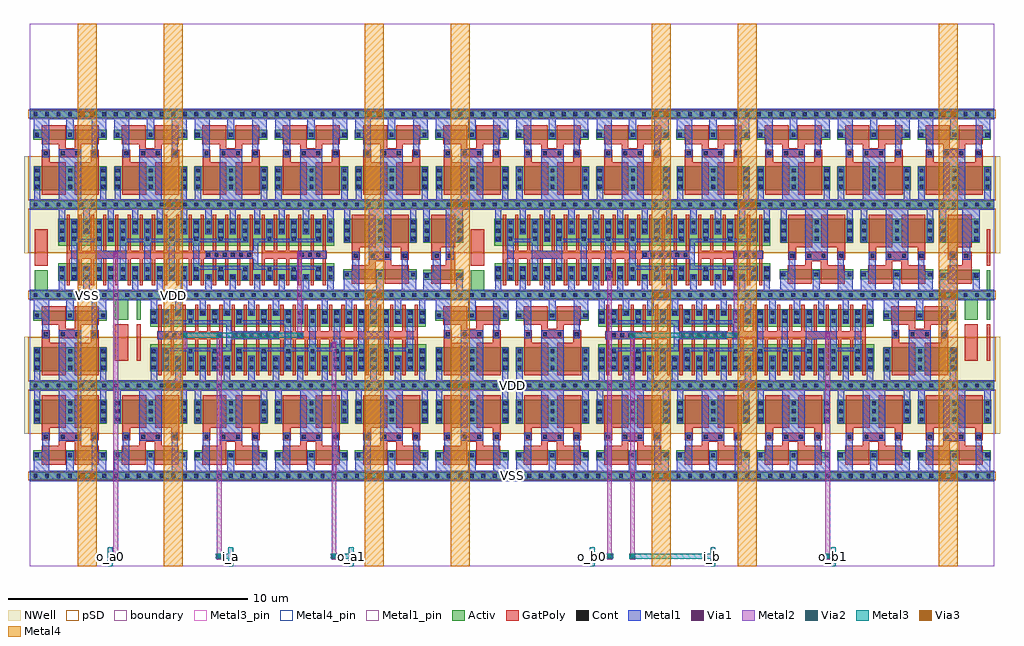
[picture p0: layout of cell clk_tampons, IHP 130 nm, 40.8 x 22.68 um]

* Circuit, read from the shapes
.subckt clk_tampons VDD VSS i_a i_b o_a0 o_a1 o_b0 o_b1
XM1 VSS VDD VSS VSS sg13_lv_nmos w=0.42u l=1u m=64
XM2 o_a0 n1 VSS VSS sg13_lv_nmos w=0.74u l=0.13u m=16
XM3 n2 i_a VSS VSS sg13_lv_nmos w=0.74u l=0.13u m=6
XM4 o_a1 n2 VSS VSS sg13_lv_nmos w=0.74u l=0.13u m=16
XM5 n1 i_a VSS VSS sg13_lv_nmos w=0.74u l=0.13u m=6
XM6 o_b0 n3 VSS VSS sg13_lv_nmos w=0.74u l=0.13u m=16
XM7 n4 i_b VSS VSS sg13_lv_nmos w=0.74u l=0.13u m=6
XM8 o_b1 n4 VSS VSS sg13_lv_nmos w=0.74u l=0.13u m=16
XM9 n3 i_b VSS VSS sg13_lv_nmos w=0.74u l=0.13u m=6
XM10 VDD VSS VDD VDD sg13_lv_pmos w=1u l=1u m=64
XM11 o_a0 n1 VDD VDD sg13_lv_pmos w=1.12u l=0.13u m=16
XM12 n2 i_a VDD VDD sg13_lv_pmos w=1.12u l=0.13u m=6
XM13 o_a1 n2 VDD VDD sg13_lv_pmos w=1.12u l=0.13u m=16
XM14 n1 i_a VDD VDD sg13_lv_pmos w=1.12u l=0.13u m=6
XM15 o_b0 n3 VDD VDD sg13_lv_pmos w=1.12u l=0.13u m=16
XM16 n4 i_b VDD VDD sg13_lv_pmos w=1.12u l=0.13u m=6
XM17 o_b1 n4 VDD VDD sg13_lv_pmos w=1.12u l=0.13u m=16
XM18 n3 i_b VDD VDD sg13_lv_pmos w=1.12u l=0.13u m=6
.ends

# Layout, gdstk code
from math import pi, radians
import gdstk
lib = gdstk.Library(unit=1e-6, precision=1e-09)
def R(c, l, rs):  # rectangles x0, y0, x1, y1
    for r in rs: c.add(gdstk.rectangle(r[:2], r[2:], *l))
def A(c, l, x, y, w, h, nx, ny, dx, dy):  # array of equal rectangles
    R(c, l, [(x+i*dx, y+j*dy, x+i*dx+w, y+j*dy+h) for i in range(nx) for j in range(ny)])
def P(c, l, *ps):  # polygons
    for p in ps: c.add(gdstk.Polygon(p, *l))
Activ = (1, 0)
GatPoly = (5, 0)
Cont = (6, 0)
Metal1 = (8, 0)
Metal1_pin = (8, 2)
Metal2 = (10, 0)
pSD = (14, 0)
Via1 = (19, 0)
Via2 = (29, 0)
Metal3 = (30, 0)
Metal3_pin = (30, 2)
NWell = (31, 0)
Via3 = (49, 0)
Metal4 = (50, 0)
Metal4_pin = (50, 2)
boundary = (189, 4)

via_via1_xy_1 = lib.new_cell('VIA_Via1_XY$1')
R(via_via1_xy_1, Metal1, [(-0.145,-0.105,0.145,0.105)])
R(via_via1_xy_1, Metal2, [(-0.1,-0.145,0.1,0.145)])
R(via_via1_xy_1, Via1, [(-0.095,-0.095,0.095,0.095)])

via_via2_yx_2 = lib.new_cell('VIA_Via2_YX$2')
R(via_via2_yx_2, Metal2, [(-0.105,-0.145,0.105,0.145)])
R(via_via2_yx_2, Via2, [(-0.095,-0.095,0.095,0.095)])
R(via_via2_yx_2, Metal3, [(-0.145,-0.1,0.145,0.1)])

via_via1_yy = lib.new_cell('VIA_Via1_YY')
R(via_via1_yy, Metal1, [(-0.105,-0.145,0.105,0.145)])
R(via_via1_yy, Metal2, [(-0.1,-0.145,0.1,0.145)])
R(via_via1_yy, Via1, [(-0.095,-0.095,0.095,0.095)])

sg13cmos5l_buf_16_1 = lib.new_cell('sg13cmos5l_buf_16$1')
R(sg13cmos5l_buf_16_1, Activ, [(0,-0.15,12,0.15), (0.24,0.59,11.76,1.33), (0.225,2.06,11.76,3.18), (0,3.63,12,3.93)])
P(sg13cmos5l_buf_16_1, GatPoly, [(0.58,0.41),(0.58,3.36),(0.71,3.36),(0.71,1.85),(1.09,1.85),(1.09,3.36),(1.22,3.36),(1.22,1.85),(1.6,1.85),(1.6,3.36),(1.73,3.36),(1.73,1.85),(2.11,1.85),(2.11,3.36),(2.24,3.36),(2.24,1.85),(2.62,1.85),(2.62,3.36),(2.75,3.36),(2.75,1.85),(3.13,1.85),(3.13,3.36),(3.26,3.36),(3.26,1.85),(3.64,1.85),(3.64,3.36),(3.77,3.36),(3.77,1.85),(4.15,1.85),(4.15,3.36),(4.28,3.36),(4.28,1.85),(4.66,1.85),(4.66,3.36),(4.79,3.36),(4.79,1.85),(5.17,1.85),(5.17,3.36),(5.3,3.36),(5.3,1.85),(5.68,1.85),(5.68,3.36),(5.81,3.36),(5.81,1.85),(6.19,1.85),(6.19,3.36),(6.32,3.36),(6.32,1.85),(6.7,1.85),(6.7,3.36),(6.83,3.36),(6.83,1.85),(7.21,1.85),(7.21,3.36),(7.34,3.36),(7.34,1.85),(7.72,1.85),(7.72,3.36),(7.85,3.36),(7.85,1.85),(8.23,1.85),(8.23,3.36),(8.36,3.36),(8.36,0.41),(8.23,0.41),(8.23,1.52),(7.85,1.52),(7.85,0.41),(7.72,0.41),(7.72,1.52),(7.34,1.52),(7.34,0.41),(7.21,0.41),(7.21,1.52),(6.83,1.52),(6.83,0.41),(6.7,0.41),(6.7,1.52),(6.32,1.52),(6.32,0.41),(6.19,0.41),(6.19,1.52),(5.81,1.52),(5.81,0.41),(5.68,0.41),(5.68,1.52),(5.3,1.52),(5.3,0.41),(5.17,0.41),(5.17,1.52),(4.79,1.52),(4.79,0.41),(4.66,0.41),(4.66,1.52),(4.28,1.52),(4.28,0.41),(4.15,0.41),(4.15,1.52),(3.77,1.52),(3.77,0.41),(3.64,0.41),(3.64,1.52),(3.26,1.52),(3.26,0.41),(3.13,0.41),(3.13,1.52),(2.75,1.52),(2.75,0.41),(2.62,0.41),(2.62,1.52),(2.24,1.52),(2.24,0.41),(2.11,0.41),(2.11,1.52),(1.73,1.52),(1.73,0.41),(1.6,0.41),(1.6,1.52),(1.22,1.52),(1.22,0.41),(1.09,0.41),(1.09,1.52),(0.71,1.52),(0.71,0.41)],
  [(8.74,0.41),(8.74,3.36),(8.87,3.36),(8.87,1.85),(9.25,1.85),(9.25,3.36),(9.38,3.36),(9.38,1.85),(9.76,1.85),(9.76,3.36),(9.89,3.36),(9.89,1.85),(10.27,1.85),(10.27,3.36),(10.4,3.36),(10.4,1.85),(10.78,1.85),(10.78,3.36),(10.91,3.36),(10.91,1.85),(11.29,1.85),(11.29,3.36),(11.42,3.36),(11.42,1.85),(11.46,1.85),(11.46,1.52),(11.42,1.52),(11.42,0.41),(11.29,0.41),(11.29,1.52),(10.91,1.52),(10.91,0.41),(10.78,0.41),(10.78,1.52),(10.4,1.52),(10.4,0.41),(10.27,0.41),(10.27,1.52),(9.89,1.52),(9.89,0.41),(9.76,0.41),(9.76,1.52),(9.38,1.52),(9.38,0.41),(9.25,0.41),(9.25,1.52),(8.87,1.52),(8.87,0.41)])
A(sg13cmos5l_buf_16_1, Cont, 0.31, 0.66, 0.16, 0.16, 23, 2, 0.51, 1.95)
A(sg13cmos5l_buf_16_1, Cont, 0.82, 1, 0.16, 0.16, 3, 1, 1.02, 0)
A(sg13cmos5l_buf_16_1, Cont, 3.37, 1, 0.16, 0.16, 6, 1, 0.51, 0)
A(sg13cmos5l_buf_16_1, Cont, 6.94, 1, 0.16, 0.16, 5, 1, 1.02, 0)
A(sg13cmos5l_buf_16_1, Cont, 6.43, 1.605, 0.16, 0.16, 6, 1, 0.34, 0)
A(sg13cmos5l_buf_16_1, Cont, 10.335, 1.605, 0.16, 0.16, 3, 1, 0.34, 0)
A(sg13cmos5l_buf_16_1, Cont, 1.84, 2.27, 0.16, 0.16, 3, 1, 0.51, 0)
A(sg13cmos5l_buf_16_1, Cont, 3.88, 2.27, 0.16, 0.16, 8, 1, 1.02, 0)
A(sg13cmos5l_buf_16_1, Cont, 0.31, 2.95, 0.16, 0.16, 23, 1, 0.51, 0)
R(sg13cmos5l_buf_16_1, Cont, [(0.16,-0.08,0.32,0.08), (0.16,-0.08,0.32,0.08), (0.64,-0.08,0.8,0.08), (0.64,-0.08,0.8,0.08), (1.12,-0.08,1.28,0.08), (1.12,-0.08,1.28,0.08), (1.6,-0.08,1.76,0.08), (1.6,-0.08,1.76,0.08), (2.08,-0.08,2.24,0.08), (2.08,-0.08,2.24,0.08), (2.56,-0.08,2.72,0.08), (2.56,-0.08,2.72,0.08), (3.04,-0.08,3.2,0.08), (3.04,-0.08,3.2,0.08), (3.52,-0.08,3.68,0.08), (3.52,-0.08,3.68,0.08), (4,-0.08,4.16,0.08), (4,-0.08,4.16,0.08), (4.48,-0.08,4.64,0.08), (4.48,-0.08,4.64,0.08), (4.96,-0.08,5.12,0.08), (4.96,-0.08,5.12,0.08), (5.44,-0.08,5.6,0.08), (5.44,-0.08,5.6,0.08), (5.92,-0.08,6.08,0.08), (5.92,-0.08,6.08,0.08), (6.4,-0.08,6.56,0.08), (6.4,-0.08,6.56,0.08), (6.88,-0.08,7.04,0.08), (6.88,-0.08,7.04,0.08), (7.36,-0.08,7.52,0.08), (7.36,-0.08,7.52,0.08), (7.84,-0.08,8,0.08), (7.84,-0.08,8,0.08), (8.32,-0.08,8.48,0.08), (8.32,-0.08,8.48,0.08), (8.8,-0.08,8.96,0.08), (8.8,-0.08,8.96,0.08), (9.28,-0.08,9.44,0.08), (9.28,-0.08,9.44,0.08), (9.76,-0.08,9.92,0.08), (9.76,-0.08,9.92,0.08), (10.24,-0.08,10.4,0.08), (10.24,-0.08,10.4,0.08), (10.72,-0.08,10.88,0.08), (10.72,-0.08,10.88,0.08), (11.2,-0.08,11.36,0.08), (11.2,-0.08,11.36,0.08), (11.68,-0.08,11.84,0.08), (11.68,-0.08,11.84,0.08), (0.31,1,0.47,1.16), (11.53,1,11.69,1.16), (1.33,1.005,1.49,1.165), (2.35,1.005,2.51,1.165), (11.53,2.265,11.69,2.425), (0.31,2.27,0.47,2.43), (0.82,2.27,0.98,2.43), (0.16,3.7,0.32,3.86), (0.16,3.7,0.32,3.86), (0.64,3.7,0.8,3.86), (0.64,3.7,0.8,3.86), (1.12,3.7,1.28,3.86), (1.12,3.7,1.28,3.86), (1.6,3.7,1.76,3.86), (1.6,3.7,1.76,3.86), (2.08,3.7,2.24,3.86), (2.08,3.7,2.24,3.86), (2.56,3.7,2.72,3.86), (2.56,3.7,2.72,3.86), (3.04,3.7,3.2,3.86), (3.04,3.7,3.2,3.86), (3.52,3.7,3.68,3.86), (3.52,3.7,3.68,3.86), (4,3.7,4.16,3.86), (4,3.7,4.16,3.86), (4.48,3.7,4.64,3.86), (4.48,3.7,4.64,3.86), (4.96,3.7,5.12,3.86), (4.96,3.7,5.12,3.86), (5.44,3.7,5.6,3.86), (5.44,3.7,5.6,3.86), (5.92,3.7,6.08,3.86), (5.92,3.7,6.08,3.86), (6.4,3.7,6.56,3.86), (6.4,3.7,6.56,3.86), (6.88,3.7,7.04,3.86), (6.88,3.7,7.04,3.86), (7.36,3.7,7.52,3.86), (7.36,3.7,7.52,3.86), (7.84,3.7,8,3.86), (7.84,3.7,8,3.86), (8.32,3.7,8.48,3.86), (8.32,3.7,8.48,3.86), (8.8,3.7,8.96,3.86), (8.8,3.7,8.96,3.86), (9.28,3.7,9.44,3.86), (9.28,3.7,9.44,3.86), (9.76,3.7,9.92,3.86), (9.76,3.7,9.92,3.86), (10.24,3.7,10.4,3.86), (10.24,3.7,10.4,3.86), (10.72,3.7,10.88,3.86), (10.72,3.7,10.88,3.86), (11.2,3.7,11.36,3.86), (11.2,3.7,11.36,3.86), (11.68,3.7,11.84,3.86), (11.68,3.7,11.84,3.86)])
R(sg13cmos5l_buf_16_1, Metal1, [(10.26,1.52,11.44,1.85)])
P(sg13cmos5l_buf_16_1, Metal1, [(0.77,0.61),(0.77,3.16),(1.03,3.16),(1.03,2.36),(1.79,2.36),(1.79,3.16),(2.05,3.16),(2.05,1.85),(2.81,1.85),(2.81,3.16),(3.07,3.16),(3.07,2.36),(3.83,2.36),(3.83,3.16),(4.09,3.16),(4.09,2.36),(4.85,2.36),(4.85,3.16),(5.11,3.16),(5.11,2.36),(5.87,2.36),(5.87,3.16),(6.13,3.16),(6.13,2.36),(6.89,2.36),(6.89,3.16),(7.15,3.16),(7.15,2.36),(7.91,2.36),(7.91,3.16),(8.17,3.16),(8.17,2.2),(6.13,2.2),(6.13,1.22),(8.17,1.22),(8.17,0.61),(7.91,0.61),(7.91,1.05),(7.15,1.05),(7.15,0.61),(6.89,0.61),(6.89,1.05),(6.13,1.05),(6.13,0.61),(5.87,0.61),(5.87,2.2),(5.11,2.2),(5.11,0.61),(4.85,0.61),(4.85,2.2),(4.09,2.2),(4.09,0.61),(3.83,0.61),(3.83,2.2),(3.07,2.2),(3.07,0.61),(2.81,0.61),(2.81,1.52),(2.05,1.52),(2.05,0.61),(1.79,0.61),(1.79,2.2),(1.03,2.2),(1.03,0.61)],
  [(8.93,0.61),(8.93,1.05),(8.385,1.05),(8.385,1.52),(6.395,1.52),(6.395,1.85),(8.385,1.85),(8.385,2.36),(8.93,2.36),(8.93,3.16),(9.19,3.16),(9.19,2.36),(9.95,2.36),(9.95,3.16),(10.21,3.16),(10.21,2.36),(10.97,2.36),(10.97,3.16),(11.23,3.16),(11.23,2.2),(8.595,2.2),(8.595,1.22),(11.23,1.22),(11.23,0.61),(10.97,0.61),(10.97,1.05),(10.21,1.05),(10.21,0.61),(9.95,0.61),(9.95,1.05),(9.19,1.05),(9.19,0.61)],
  [(11.48,2.215),(11.48,3.56),(10.72,3.56),(10.72,2.545),(10.46,2.545),(10.46,3.56),(9.7,3.56),(9.7,2.54),(9.44,2.54),(9.44,3.56),(8.68,3.56),(8.68,2.54),(8.42,2.54),(8.42,3.56),(7.66,3.56),(7.66,2.54),(7.4,2.54),(7.4,3.56),(6.64,3.56),(6.64,2.54),(6.38,2.54),(6.38,3.56),(5.62,3.56),(5.62,2.54),(5.36,2.54),(5.36,3.56),(4.6,3.56),(4.6,2.54),(4.34,2.54),(4.34,3.56),(3.58,3.56),(3.58,2.54),(3.32,2.54),(3.32,3.56),(2.56,3.56),(2.56,2.22),(2.3,2.22),(2.3,3.56),(1.54,3.56),(1.54,2.54),(1.28,2.54),(1.28,3.56),(0.52,3.56),(0.52,2.22),(0.26,2.22),(0.26,3.56),(0,3.56),(0,4),(12,4),(12,3.56),(11.74,3.56),(11.74,2.215)],
  [(0,-0.22),(0,0.22),(0.26,0.22),(0.26,1.21),(0.52,1.21),(0.52,0.22),(1.28,0.22),(1.28,1.21),(1.54,1.21),(1.54,0.22),(2.3,0.22),(2.3,1.21),(2.56,1.21),(2.56,0.22),(3.32,0.22),(3.32,1.195),(3.58,1.195),(3.58,0.22),(4.34,0.22),(4.34,1.195),(4.6,1.195),(4.6,0.22),(5.36,0.22),(5.36,1.195),(5.62,1.195),(5.62,0.22),(6.38,0.22),(6.38,0.87),(6.64,0.87),(6.64,0.22),(7.4,0.22),(7.4,0.87),(7.66,0.87),(7.66,0.22),(8.42,0.22),(8.42,0.87),(8.685,0.87),(8.685,0.22),(9.44,0.22),(9.44,0.87),(9.7,0.87),(9.7,0.22),(10.46,0.22),(10.46,0.87),(10.72,0.87),(10.72,0.22),(11.48,0.22),(11.48,1.21),(11.74,1.21),(11.74,0.22),(12,0.22),(12,-0.22)])
R(sg13cmos5l_buf_16_1, Metal1_pin, [(0,-0.22,12,0.22), (1.79,1.52,3.07,1.85), (10.26,1.52,11.44,1.85), (0,3.56,12,4)])
R(sg13cmos5l_buf_16_1, pSD, [(-0.07,-0.18,12.07,0.18), (-0.07,1.76,12.07,3.6)])
R(sg13cmos5l_buf_16_1, NWell, [(-0.24,1.75,12.24,4.17)])
R(sg13cmos5l_buf_16_1, boundary, [(0,0,12,3.78)])
sg13cmos5l_buf_16_1.add(gdstk.Label('X', (2.42,1.68), layer=8, texttype=25))
sg13cmos5l_buf_16_1.add(gdstk.Label('A', (10.855,1.755), layer=8, texttype=25))
sg13cmos5l_buf_16_1.add(gdstk.Label('VSS', (6.01,0.055), layer=8, texttype=25))
sg13cmos5l_buf_16_1.add(gdstk.Label('VDD', (5.78,3.835), layer=8, texttype=25))

sg13cmos5l_fill_1_2 = lib.new_cell('sg13cmos5l_fill_1$2')
R(sg13cmos5l_fill_1_2, Activ, [(0,-0.15,0.48,0.15), (0.16,0.15,0.32,1.03), (0,3.63,0.48,3.93)])
R(sg13cmos5l_fill_1_2, GatPoly, [(0.16,1.23,0.32,2.75)])
R(sg13cmos5l_fill_1_2, Cont, [(0.16,-0.08,0.32,0.08), (0.16,-0.08,0.32,0.08), (0.16,3.7,0.32,3.86), (0.16,3.7,0.32,3.86)])
R(sg13cmos5l_fill_1_2, Metal1, [(0,-0.22,0.48,0.22), (0,3.56,0.48,4)])
R(sg13cmos5l_fill_1_2, Metal1_pin, [(0,-0.22,0.48,0.22), (0,3.56,0.48,4)])
R(sg13cmos5l_fill_1_2, pSD, [(-0.07,-0.18,0.55,0.18), (-0.07,1.76,0.55,3.6)])
R(sg13cmos5l_fill_1_2, NWell, [(-0.24,1.75,0.72,4.17)])
R(sg13cmos5l_fill_1_2, boundary, [(0,0,0.48,3.78)])
sg13cmos5l_fill_1_2.add(gdstk.Label('VSS', (0.255,0), layer=8, texttype=25))
sg13cmos5l_fill_1_2.add(gdstk.Label('VDD', (0.245,3.785), layer=8, texttype=25))

sg13cmos5l_fill_2_2 = lib.new_cell('sg13cmos5l_fill_2$2')
R(sg13cmos5l_fill_2_2, Activ, [(0,-0.15,0.96,0.15), (0.2,0.15,0.76,1.03), (0,3.63,0.96,3.93)])
R(sg13cmos5l_fill_2_2, GatPoly, [(0.2,1.23,0.76,2.75)])
R(sg13cmos5l_fill_2_2, Cont, [(0.16,-0.08,0.32,0.08), (0.16,-0.08,0.32,0.08), (0.64,-0.08,0.8,0.08), (0.64,-0.08,0.8,0.08), (0.16,3.7,0.32,3.86), (0.16,3.7,0.32,3.86), (0.64,3.7,0.8,3.86), (0.64,3.7,0.8,3.86)])
R(sg13cmos5l_fill_2_2, Metal1, [(0,-0.22,0.96,0.22), (0,3.56,0.96,4)])
R(sg13cmos5l_fill_2_2, Metal1_pin, [(0,-0.22,0.96,0.22), (0,3.56,0.96,4)])
R(sg13cmos5l_fill_2_2, pSD, [(-0.07,-0.18,1.03,0.18), (-0.07,1.76,1.03,3.6)])
R(sg13cmos5l_fill_2_2, NWell, [(-0.24,1.75,1.2,4.17)])
R(sg13cmos5l_fill_2_2, boundary, [(0,0,0.96,3.78)])
sg13cmos5l_fill_2_2.add(gdstk.Label('VDD', (0.495,3.78), layer=8, texttype=25))
sg13cmos5l_fill_2_2.add(gdstk.Label('VSS', (0.49,0), layer=8, texttype=25))

sg13cmos5l_decap_8_2 = lib.new_cell('sg13cmos5l_decap_8$2')
R(sg13cmos5l_decap_8_2, Activ, [(0,-0.15,3.36,0.15), (0.155,0.65,3.215,1.07), (0.165,2.185,3.225,3.185), (0,3.63,3.36,3.93)])
P(sg13cmos5l_decap_8_2, GatPoly, [(0.505,1.48),(0.505,3.365),(1.505,3.365),(1.505,2.005),(0.835,2.005),(0.835,1.48)],
  [(2.555,1.48),(2.555,2.005),(1.885,2.005),(1.885,3.365),(2.885,3.365),(2.885,1.48)],
  [(0.495,0.47),(0.495,1.25),(1.22,1.25),(1.22,1.805),(2.155,1.805),(2.155,1.25),(2.875,1.25),(2.875,0.47),(1.875,0.47),(1.875,1.415),(1.495,1.415),(1.495,0.47)])
A(sg13cmos5l_decap_8_2, Cont, 0.16, -0.08, 0.16, 0.16, 7, 2, 0.48, 3.78)
A(sg13cmos5l_decap_8_2, Cont, 0.225, 0.78, 0.16, 0.16, 3, 1, 1.38, 0)
A(sg13cmos5l_decap_8_2, Cont, 0.235, 2.275, 0.16, 0.16, 3, 3, 1.38, 0.34)
R(sg13cmos5l_decap_8_2, Cont, [(1.3,1.555,1.46,1.715), (1.905,1.555,2.065,1.715), (0.59,1.56,0.75,1.72), (2.63,1.56,2.79,1.72)])
P(sg13cmos5l_decap_8_2, Metal1, [(1.22,1.475),(1.22,3.56),(0.445,3.56),(0.445,2.205),(0.185,2.205),(0.185,3.56),(0,3.56),(0,4),(3.36,4),(3.36,3.56),(3.205,3.56),(3.205,2.21),(2.945,2.21),(2.945,3.56),(2.155,3.56),(2.155,1.475)],
  [(0,-0.22),(0,0.22),(0.175,0.22),(0.175,0.99),(0.52,0.99),(0.52,1.81),(0.81,1.81),(0.81,0.22),(1.53,0.22),(1.53,1.03),(1.835,1.03),(1.835,0.22),(2.585,0.22),(2.585,1.81),(2.835,1.81),(2.835,0.99),(3.195,0.99),(3.195,0.22),(3.36,0.22),(3.36,-0.22)])
R(sg13cmos5l_decap_8_2, Metal1_pin, [(0,-0.22,3.36,0.22), (0,3.56,3.36,4)])
R(sg13cmos5l_decap_8_2, pSD, [(-0.07,-0.18,3.43,0.18), (-0.07,1.76,3.43,3.6)])
R(sg13cmos5l_decap_8_2, NWell, [(-0.24,1.75,3.6,4.17)])
R(sg13cmos5l_decap_8_2, boundary, [(0,0,3.36,3.78)])
sg13cmos5l_decap_8_2.add(gdstk.Label('VSS', (1.68,0), layer=8, texttype=25))
sg13cmos5l_decap_8_2.add(gdstk.Label('VDD', (1.68,3.78), layer=8, texttype=25))

via_via3_4_800_440_1_2_4 = lib.new_cell('VIA_via3_4_800_440_1_2_410_410')
R(via_via3_4_800_440_1_2_4, Metal3, [(-0.35,-0.1,0.35,0.1)])
R(via_via3_4_800_440_1_2_4, Via3, [(-0.3,-0.095,-0.11,0.095), (0.11,-0.095,0.3,0.095)])
R(via_via3_4_800_440_1_2_4, Metal4, [(-0.4,-0.145,0.4,0.145)])

via_via1_2_800_440_1_2_4 = lib.new_cell('VIA_via1_2_800_440_1_2_410_410')
R(via_via1_2_800_440_1_2_4, Metal1, [(-0.35,-0.22,0.35,0.22)])
R(via_via1_2_800_440_1_2_4, Metal2, [(-0.305,-0.145,0.305,0.145)])
R(via_via1_2_800_440_1_2_4, Via1, [(-0.3,-0.095,-0.11,0.095), (0.11,-0.095,0.3,0.095)])

sg13cmos5l_decap_4_2 = lib.new_cell('sg13cmos5l_decap_4$2')
R(sg13cmos5l_decap_4_2, Activ, [(0,-0.15,1.92,0.15), (0.12,0.645,1.8,1.065), (0.12,2.18,1.8,3.18), (0,3.63,1.92,3.93)])
P(sg13cmos5l_decap_4_2, GatPoly, [(0.46,0.465),(0.46,1.245),(1.065,1.245),(1.065,1.8),(1.46,1.8),(1.46,0.465)],
  [(0.46,1.475),(0.46,3.36),(1.46,3.36),(1.46,2),(0.855,2),(0.855,1.475)])
A(sg13cmos5l_decap_4_2, Cont, 0.16, -0.08, 0.16, 0.16, 4, 2, 0.48, 3.78)
A(sg13cmos5l_decap_4_2, Cont, 0.19, 2.27, 0.16, 0.16, 1, 3, 0, 0.34)
A(sg13cmos5l_decap_4_2, Cont, 1.57, 2.27, 0.16, 0.16, 1, 3, 0, 0.34)
R(sg13cmos5l_decap_4_2, Cont, [(0.19,0.72,0.35,0.88), (1.57,0.72,1.73,0.88), (1.15,1.555,1.31,1.715), (0.61,1.56,0.77,1.72)])
P(sg13cmos5l_decap_4_2, Metal1, [(1.065,1.47),(1.065,3.56),(0.4,3.56),(0.4,2.22),(0.13,2.22),(0.13,3.56),(0,3.56),(0,4),(1.92,4),(1.92,3.56),(1.79,3.56),(1.79,2.22),(1.405,2.22),(1.405,1.47)],
  [(0,-0.22),(0,0.22),(0.13,0.22),(0.13,0.935),(0.53,0.935),(0.53,1.805),(0.855,1.805),(0.855,0.22),(1.51,0.22),(1.51,0.935),(1.79,0.935),(1.79,0.22),(1.92,0.22),(1.92,-0.22)])
R(sg13cmos5l_decap_4_2, Metal1_pin, [(0,-0.22,1.92,0.22), (0,3.56,1.92,4)])
R(sg13cmos5l_decap_4_2, pSD, [(-0.07,-0.18,1.99,0.18), (-0.16,1.76,1.99,3.6)])
R(sg13cmos5l_decap_4_2, NWell, [(-0.24,1.75,2.16,4.17)])
R(sg13cmos5l_decap_4_2, boundary, [(0,0,1.92,3.78)])
sg13cmos5l_decap_4_2.add(gdstk.Label('VSS', (1.08,0), layer=8, texttype=25))
sg13cmos5l_decap_4_2.add(gdstk.Label('VDD', (0.95,3.78), layer=8, texttype=25))

via_via2_3_800_440_1_2_4 = lib.new_cell('VIA_via2_3_800_440_1_2_410_410')
R(via_via2_3_800_440_1_2_4, Metal2, [(-0.305,-0.145,0.305,0.145)])
R(via_via2_3_800_440_1_2_4, Via2, [(-0.3,-0.095,-0.11,0.095), (0.11,-0.095,0.3,0.095)])
R(via_via2_3_800_440_1_2_4, Metal3, [(-0.35,-0.1,0.35,0.1)])

clk_tampons = lib.new_cell('clk_tampons')
A(clk_tampons, Metal1, 0, 3.56, 0.16, 0.44, 1, 5, 0, 3.78)
A(clk_tampons, Metal1, 0, 3.56, 40.32, 0.44, 1, 5, 0, 3.78)
A(clk_tampons, Metal1, 40.16, 3.56, 0.16, 0.44, 1, 5, 0, 3.78)
A(clk_tampons, Metal1_pin, 0, 3.56, 0.16, 0.44, 1, 5, 0, 3.78)
A(clk_tampons, Metal1_pin, 0, 3.56, 40.32, 0.44, 1, 5, 0, 3.78)
A(clk_tampons, Metal1_pin, 40.16, 3.56, 0.16, 0.44, 1, 5, 0, 3.78)
R(clk_tampons, Metal2, [(6.38,9.09,6.58,9.66), (25.1,9.09,25.3,9.66)])
A(clk_tampons, Metal3, 3.26, 0, 0.2, 0.8, 3, 1, 5.04, 0)
A(clk_tampons, Metal3, 23.42, 0, 0.2, 0.8, 3, 1, 5.04, 0)
R(clk_tampons, Metal3, [(7.345,9.56,7.92,9.76)])
A(clk_tampons, Metal3_pin, 3.26, 0, 0.2, 0.8, 3, 1, 5.04, 0)
A(clk_tampons, Metal3_pin, 23.42, 0, 0.2, 0.8, 3, 1, 5.04, 0)
R(clk_tampons, Metal4, [(2,0,2.8,0.2), (2,0,2.8,22.68), (5.6,0,6.4,0.2), (5.6,0,6.4,22.68), (14,0,14.8,0.2), (14,0,14.8,22.68), (17.6,0,18.4,0.2), (17.6,0,18.4,22.68), (26,0,26.8,0.2), (26,0,26.8,22.68), (29.6,0,30.4,0.2), (29.6,0,30.4,22.68), (38,0,38.8,0.2), (38,0,38.8,22.68), (2,22.48,2.8,22.68), (5.6,22.48,6.4,22.68), (14,22.48,14.8,22.68), (17.6,22.48,18.4,22.68), (26,22.48,26.8,22.68), (29.6,22.48,30.4,22.68), (38,22.48,38.8,22.68)])
R(clk_tampons, Metal4_pin, [(2,0,2.8,0.2), (2,0,2.8,22.68), (5.6,0,6.4,0.2), (5.6,0,6.4,22.68), (14,0,14.8,0.2), (14,0,14.8,22.68), (17.6,0,18.4,0.2), (17.6,0,18.4,22.68), (26,0,26.8,0.2), (26,0,26.8,22.68), (29.6,0,30.4,0.2), (29.6,0,30.4,22.68), (38,0,38.8,0.2), (38,0,38.8,22.68), (2,22.48,2.8,22.68), (5.6,22.48,6.4,22.68), (14,22.48,14.8,22.68), (17.6,22.48,18.4,22.68), (26,22.48,26.8,22.68), (29.6,22.48,30.4,22.68), (38,22.48,38.8,22.68)])
R(clk_tampons, boundary, [(0,0,40.32,22.68)])
clk_tampons.add(gdstk.FlexPath([(0,15.12),(40.32,15.12)], 0.44, ends="flush", simple_path=True, layer=8, datatype=0))  # Metal1
clk_tampons.add(gdstk.FlexPath([(0,7.56),(40.32,7.56)], 0.44, ends="flush", simple_path=True, layer=8, datatype=0))  # Metal1
clk_tampons.add(gdstk.FlexPath([(0,18.9),(40.32,18.9)], 0.44, ends="flush", simple_path=True, layer=8, datatype=0))  # Metal1
clk_tampons.add(gdstk.FlexPath([(0,11.34),(40.32,11.34)], 0.44, ends="flush", simple_path=True, layer=8, datatype=0))  # Metal1
clk_tampons.add(gdstk.FlexPath([(0,3.78),(40.32,3.78)], 0.44, ends="flush", simple_path=True, layer=8, datatype=0))  # Metal1
clk_tampons.add(gdstk.FlexPath([(11.28,9.66),(11.28,13.02)], 0.2, ends="extended", simple_path=True, layer=10, datatype=0))  # Metal2
clk_tampons.add(gdstk.FlexPath([(7.92,0.42),(7.92,9.66)], 0.2, ends="extended", simple_path=True, layer=10, datatype=0))  # Metal2
clk_tampons.add(gdstk.FlexPath([(25.2,0.42),(25.2,9.66)], 0.2, ends="extended", simple_path=True, layer=10, datatype=0))  # Metal2
clk_tampons.add(gdstk.FlexPath([(29.52,9.66),(29.52,13.02)], 0.2, ends="extended", simple_path=True, layer=10, datatype=0))  # Metal2
clk_tampons.add(gdstk.FlexPath([(3.6,0.42),(3.6,13.02)], 0.2, ends="extended", simple_path=True, layer=10, datatype=0))  # Metal2
clk_tampons.add(gdstk.FlexPath([(12.72,0.42),(12.72,9.24)], 0.2, ends="extended", simple_path=True, layer=10, datatype=0))  # Metal2
clk_tampons.add(gdstk.FlexPath([(24.24,0.42),(24.24,12.18)], 0.2, ends="extended", simple_path=True, layer=10, datatype=0))  # Metal2
clk_tampons.add(gdstk.FlexPath([(33.36,0.42),(33.36,9.66)], 0.2, ends="extended", simple_path=True, layer=10, datatype=0))  # Metal2
clk_tampons.add(gdstk.FlexPath([(29.64,15.12),(30.36,15.12)], 0.2, ends="flush", simple_path=True, layer=30, datatype=0))  # Metal3
clk_tampons.add(gdstk.FlexPath([(29.64,7.56),(30.36,7.56)], 0.2, ends="flush", simple_path=True, layer=30, datatype=0))  # Metal3
clk_tampons.add(gdstk.FlexPath([(17.64,15.12),(18.36,15.12)], 0.2, ends="flush", simple_path=True, layer=30, datatype=0))  # Metal3
clk_tampons.add(gdstk.FlexPath([(17.64,7.56),(18.36,7.56)], 0.2, ends="flush", simple_path=True, layer=30, datatype=0))  # Metal3
clk_tampons.add(gdstk.FlexPath([(5.64,15.12),(6.36,15.12)], 0.2, ends="flush", simple_path=True, layer=30, datatype=0))  # Metal3
clk_tampons.add(gdstk.FlexPath([(5.64,7.56),(6.36,7.56)], 0.2, ends="flush", simple_path=True, layer=30, datatype=0))  # Metal3
clk_tampons.add(gdstk.FlexPath([(38.04,18.9),(38.76,18.9)], 0.2, ends="flush", simple_path=True, layer=30, datatype=0))  # Metal3
clk_tampons.add(gdstk.FlexPath([(38.04,11.34),(38.76,11.34)], 0.2, ends="flush", simple_path=True, layer=30, datatype=0))  # Metal3
clk_tampons.add(gdstk.FlexPath([(38.04,3.78),(38.76,3.78)], 0.2, ends="flush", simple_path=True, layer=30, datatype=0))  # Metal3
clk_tampons.add(gdstk.FlexPath([(26.04,18.9),(26.76,18.9)], 0.2, ends="flush", simple_path=True, layer=30, datatype=0))  # Metal3
clk_tampons.add(gdstk.FlexPath([(26.04,11.34),(26.76,11.34)], 0.2, ends="flush", simple_path=True, layer=30, datatype=0))  # Metal3
clk_tampons.add(gdstk.FlexPath([(26.04,3.78),(26.76,3.78)], 0.2, ends="flush", simple_path=True, layer=30, datatype=0))  # Metal3
clk_tampons.add(gdstk.FlexPath([(14.04,18.9),(14.76,18.9)], 0.2, ends="flush", simple_path=True, layer=30, datatype=0))  # Metal3
clk_tampons.add(gdstk.FlexPath([(14.04,11.34),(14.76,11.34)], 0.2, ends="flush", simple_path=True, layer=30, datatype=0))  # Metal3
clk_tampons.add(gdstk.FlexPath([(14.04,3.78),(14.76,3.78)], 0.2, ends="flush", simple_path=True, layer=30, datatype=0))  # Metal3
clk_tampons.add(gdstk.FlexPath([(2.04,18.9),(2.76,18.9)], 0.2, ends="flush", simple_path=True, layer=30, datatype=0))  # Metal3
clk_tampons.add(gdstk.FlexPath([(2.04,11.34),(2.76,11.34)], 0.2, ends="flush", simple_path=True, layer=30, datatype=0))  # Metal3
clk_tampons.add(gdstk.FlexPath([(2.04,3.78),(2.76,3.78)], 0.2, ends="flush", simple_path=True, layer=30, datatype=0))  # Metal3
clk_tampons.add(gdstk.FlexPath([(6.48,9.66),(11.28,9.66)], 0.2, ends="extended", simple_path=True, layer=30, datatype=0))  # Metal3
clk_tampons.add(gdstk.FlexPath([(7.92,0.42),(8.4,0.42)], 0.2, ends=(0.1, 0), simple_path=True, layer=30, datatype=0))  # Metal3
clk_tampons.add(gdstk.FlexPath([(25.2,0.42),(28.56,0.42)], 0.2, ends=(0.1, 0), simple_path=True, layer=30, datatype=0))  # Metal3
clk_tampons.add(gdstk.FlexPath([(25.2,9.66),(29.52,9.66)], 0.2, ends="extended", simple_path=True, layer=30, datatype=0))  # Metal3
clk_tampons.add(gdstk.FlexPath([(3.36,0.42),(3.6,0.42)], 0.2, ends=(0, 0.1), simple_path=True, layer=30, datatype=0))  # Metal3
clk_tampons.add(gdstk.FlexPath([(12.72,0.42),(13.44,0.42)], 0.2, ends=(0.1, 0), simple_path=True, layer=30, datatype=0))  # Metal3
clk_tampons.add(gdstk.FlexPath([(23.52,0.42),(24.24,0.42)], 0.2, ends=(0, 0.1), simple_path=True, layer=30, datatype=0))  # Metal3
clk_tampons.add(gdstk.FlexPath([(33.36,0.42),(33.6,0.42)], 0.2, ends=(0.1, 0), simple_path=True, layer=30, datatype=0))  # Metal3
clk_tampons.add(gdstk.FlexPath([(30,0),(30,22.68)], 0.8, ends="flush", simple_path=True, layer=50, datatype=0))  # Metal4
clk_tampons.add(gdstk.FlexPath([(18,0),(18,22.68)], 0.8, ends="flush", simple_path=True, layer=50, datatype=0))  # Metal4
clk_tampons.add(gdstk.FlexPath([(6,0),(6,22.68)], 0.8, ends="flush", simple_path=True, layer=50, datatype=0))  # Metal4
clk_tampons.add(gdstk.FlexPath([(38.4,0),(38.4,22.68)], 0.8, ends="flush", simple_path=True, layer=50, datatype=0))  # Metal4
clk_tampons.add(gdstk.FlexPath([(26.4,0),(26.4,22.68)], 0.8, ends="flush", simple_path=True, layer=50, datatype=0))  # Metal4
clk_tampons.add(gdstk.FlexPath([(14.4,0),(14.4,22.68)], 0.8, ends="flush", simple_path=True, layer=50, datatype=0))  # Metal4
clk_tampons.add(gdstk.FlexPath([(2.4,0),(2.4,22.68)], 0.8, ends="flush", simple_path=True, layer=50, datatype=0))  # Metal4
clk_tampons.add(gdstk.Reference(via_via1_xy_1, (33.36,9.66)))
clk_tampons.add(gdstk.Reference(via_via2_yx_2, (29.52,9.66)))
clk_tampons.add(gdstk.Reference(via_via2_yx_2, (6.48,9.66)))
clk_tampons.add(gdstk.Reference(via_via2_yx_2, (11.28,9.66)))
clk_tampons.add(gdstk.Reference(via_via2_yx_2, (7.92,9.66)))
clk_tampons.add(gdstk.Reference(via_via2_yx_2, (25.2,9.66)))
clk_tampons.add(gdstk.Reference(via_via1_yy, (6.48,9.66)))
clk_tampons.add(gdstk.Reference(via_via1_yy, (25.2,9.66)))
clk_tampons.add(gdstk.Reference(sg13cmos5l_buf_16_1, (19.2,11.34)))
clk_tampons.add(gdstk.Reference(sg13cmos5l_buf_16_1, (16.8,11.34), rotation=pi))
clk_tampons.add(gdstk.Reference(sg13cmos5l_buf_16_1, (35.52,11.34), rotation=pi))
clk_tampons.add(gdstk.Reference(sg13cmos5l_fill_1_2, (4.32,11.34), x_reflection=True))
clk_tampons.add(gdstk.Reference(sg13cmos5l_fill_1_2, (39.84,11.34), x_reflection=True))
clk_tampons.add(gdstk.Reference(sg13cmos5l_fill_2_2, (38.88,11.34), x_reflection=True))
clk_tampons.add(gdstk.Reference(sg13cmos5l_fill_2_2, (3.36,11.34), x_reflection=True))
clk_tampons.add(gdstk.Reference(sg13cmos5l_decap_8_2, (16.8,3.78)))
clk_tampons.add(gdstk.Reference(sg13cmos5l_decap_8_2, (20.16,3.78)))
clk_tampons.add(gdstk.Reference(sg13cmos5l_decap_8_2, (0,11.34), x_reflection=True))
clk_tampons.add(gdstk.Reference(sg13cmos5l_decap_8_2, (16.8,11.34), x_reflection=True))
clk_tampons.add(gdstk.Reference(sg13cmos5l_decap_8_2, (20.16,11.34), x_reflection=True))
clk_tampons.add(gdstk.Reference(sg13cmos5l_decap_8_2, (35.52,11.34), x_reflection=True))
clk_tampons.add(gdstk.Reference(sg13cmos5l_decap_8_2, (20.16,18.9), x_reflection=True))
clk_tampons.add(gdstk.Reference(sg13cmos5l_decap_8_2, (16.8,18.9), x_reflection=True))
clk_tampons.add(gdstk.Reference(via_via3_4_800_440_1_2_4, (38.4,11.34)))
clk_tampons.add(gdstk.Reference(via_via3_4_800_440_1_2_4, (38.4,18.9)))
clk_tampons.add(gdstk.Reference(via_via1_yy, (24.24,12.18)))
clk_tampons.add(gdstk.Reference(via_via1_yy, (29.52,13.02)))
clk_tampons.add(gdstk.Reference(via_via1_2_800_440_1_2_4, (26.4,18.9)))
clk_tampons.add(gdstk.Reference(sg13cmos5l_decap_4_2, (37.92,11.34)))
clk_tampons.add(gdstk.Reference(sg13cmos5l_fill_1_2, (39.84,11.34)))
clk_tampons.add(gdstk.Reference(via_via1_2_800_440_1_2_4, (26.4,11.34)))
clk_tampons.add(gdstk.Reference(via_via1_2_800_440_1_2_4, (38.4,18.9)))
clk_tampons.add(gdstk.Reference(via_via1_2_800_440_1_2_4, (30,15.12)))
clk_tampons.add(gdstk.Reference(via_via1_2_800_440_1_2_4, (38.4,11.34)))
clk_tampons.add(gdstk.Reference(via_via2_3_800_440_1_2_4, (38.4,11.34)))
clk_tampons.add(gdstk.Reference(via_via2_3_800_440_1_2_4, (30,15.12)))
clk_tampons.add(gdstk.Reference(sg13cmos5l_decap_8_2, (31.2,11.34)))
clk_tampons.add(gdstk.Reference(sg13cmos5l_decap_8_2, (34.56,11.34)))
clk_tampons.add(gdstk.Reference(via_via2_3_800_440_1_2_4, (26.4,18.9)))
clk_tampons.add(gdstk.Reference(via_via2_3_800_440_1_2_4, (26.4,11.34)))
clk_tampons.add(gdstk.Reference(via_via2_3_800_440_1_2_4, (38.4,18.9)))
clk_tampons.add(gdstk.Reference(via_via3_4_800_440_1_2_4, (30,15.12)))
clk_tampons.add(gdstk.Reference(via_via3_4_800_440_1_2_4, (26.4,11.34)))
clk_tampons.add(gdstk.Reference(via_via3_4_800_440_1_2_4, (26.4,18.9)))
clk_tampons.add(gdstk.Reference(sg13cmos5l_decap_8_2, (26.88,18.9), x_reflection=True))
clk_tampons.add(gdstk.Reference(sg13cmos5l_decap_8_2, (30.24,18.9), x_reflection=True))
clk_tampons.add(gdstk.Reference(sg13cmos5l_decap_8_2, (36.96,18.9), x_reflection=True))
clk_tampons.add(gdstk.Reference(sg13cmos5l_decap_8_2, (33.6,18.9), x_reflection=True))
clk_tampons.add(gdstk.Reference(sg13cmos5l_decap_8_2, (23.52,18.9), x_reflection=True))
clk_tampons.add(gdstk.Reference(sg13cmos5l_decap_4_2, (16.32,11.34)))
clk_tampons.add(gdstk.Reference(via_via2_3_800_440_1_2_4, (14.4,11.34)))
clk_tampons.add(gdstk.Reference(via_via2_3_800_440_1_2_4, (14.4,18.9)))
clk_tampons.add(gdstk.Reference(via_via1_xy_1, (3.6,13.02)))
clk_tampons.add(gdstk.Reference(via_via1_2_800_440_1_2_4, (2.4,11.34)))
clk_tampons.add(gdstk.Reference(sg13cmos5l_fill_2_2, (0,11.34)))
clk_tampons.add(gdstk.Reference(sg13cmos5l_fill_2_2, (18.24,11.34)))
clk_tampons.add(gdstk.Reference(via_via1_2_800_440_1_2_4, (14.4,18.9)))
clk_tampons.add(gdstk.Reference(via_via1_2_800_440_1_2_4, (2.4,18.9)))
clk_tampons.add(gdstk.Reference(via_via3_4_800_440_1_2_4, (6,15.12)))
clk_tampons.add(gdstk.Reference(via_via3_4_800_440_1_2_4, (14.4,18.9)))
clk_tampons.add(gdstk.Reference(sg13cmos5l_decap_8_2, (12.96,11.34)))
clk_tampons.add(gdstk.Reference(via_via3_4_800_440_1_2_4, (14.4,11.34)))
clk_tampons.add(gdstk.Reference(via_via3_4_800_440_1_2_4, (2.4,11.34)))
clk_tampons.add(gdstk.Reference(sg13cmos5l_decap_8_2, (10.08,18.9), x_reflection=True))
clk_tampons.add(gdstk.Reference(sg13cmos5l_decap_8_2, (13.44,18.9), x_reflection=True))
clk_tampons.add(gdstk.Reference(via_via1_2_800_440_1_2_4, (18,15.12)))
clk_tampons.add(gdstk.Reference(sg13cmos5l_decap_8_2, (6.72,18.9), x_reflection=True))
clk_tampons.add(gdstk.Reference(via_via1_2_800_440_1_2_4, (6,15.12)))
clk_tampons.add(gdstk.Reference(sg13cmos5l_decap_8_2, (0,18.9), x_reflection=True))
clk_tampons.add(gdstk.Reference(via_via1_2_800_440_1_2_4, (14.4,11.34)))
clk_tampons.add(gdstk.Reference(via_via1_yy, (11.28,13.02)))
clk_tampons.add(gdstk.Reference(via_via2_3_800_440_1_2_4, (2.4,11.34)))
clk_tampons.add(gdstk.Reference(via_via3_4_800_440_1_2_4, (2.4,18.9)))
clk_tampons.add(gdstk.Reference(via_via3_4_800_440_1_2_4, (18,15.12)))
clk_tampons.add(gdstk.Reference(sg13cmos5l_buf_16_1, (0.96,11.34)))
clk_tampons.add(gdstk.Reference(via_via2_3_800_440_1_2_4, (2.4,18.9)))
clk_tampons.add(gdstk.Reference(via_via2_3_800_440_1_2_4, (6,15.12)))
clk_tampons.add(gdstk.Reference(via_via2_3_800_440_1_2_4, (18,15.12)))
clk_tampons.add(gdstk.Reference(sg13cmos5l_decap_8_2, (3.36,18.9), x_reflection=True))
clk_tampons.add(gdstk.Reference(via_via2_3_800_440_1_2_4, (6,7.56)))
clk_tampons.add(gdstk.Reference(sg13cmos5l_decap_8_2, (10.08,3.78)))
clk_tampons.add(gdstk.Reference(sg13cmos5l_decap_8_2, (3.36,3.78)))
clk_tampons.add(gdstk.Reference(sg13cmos5l_decap_8_2, (6.72,3.78)))
clk_tampons.add(gdstk.Reference(via_via2_yx_2, (7.92,0.42)))
clk_tampons.add(gdstk.Reference(via_via3_4_800_440_1_2_4, (6,7.56)))
clk_tampons.add(gdstk.Reference(via_via2_3_800_440_1_2_4, (14.4,3.78)))
clk_tampons.add(gdstk.Reference(via_via3_4_800_440_1_2_4, (2.4,3.78)))
clk_tampons.add(gdstk.Reference(via_via2_yx_2, (12.72,0.42)))
clk_tampons.add(gdstk.Reference(via_via3_4_800_440_1_2_4, (18,7.56)))
clk_tampons.add(gdstk.Reference(via_via3_4_800_440_1_2_4, (14.4,3.78)))
clk_tampons.add(gdstk.Reference(via_via1_2_800_440_1_2_4, (14.4,3.78)))
clk_tampons.add(gdstk.Reference(via_via2_3_800_440_1_2_4, (18,7.56)))
clk_tampons.add(gdstk.Reference(via_via1_2_800_440_1_2_4, (6,7.56)))
clk_tampons.add(gdstk.Reference(via_via2_3_800_440_1_2_4, (2.4,3.78)))
clk_tampons.add(gdstk.Reference(via_via1_2_800_440_1_2_4, (2.4,3.78)))
clk_tampons.add(gdstk.Reference(via_via1_2_800_440_1_2_4, (18,7.56)))
clk_tampons.add(gdstk.Reference(sg13cmos5l_decap_8_2, (0,3.78)))
clk_tampons.add(gdstk.Reference(via_via2_yx_2, (3.6,0.42)))
clk_tampons.add(gdstk.Reference(sg13cmos5l_decap_8_2, (13.44,3.78)))
clk_tampons.add(gdstk.Reference(via_via1_xy_1, (12.72,9.24)))
clk_tampons.add(gdstk.Reference(via_via1_2_800_440_1_2_4, (38.4,3.78)))
clk_tampons.add(gdstk.Reference(via_via3_4_800_440_1_2_4, (26.4,3.78)))
clk_tampons.add(gdstk.Reference(via_via1_2_800_440_1_2_4, (26.4,3.78)))
clk_tampons.add(gdstk.Reference(via_via2_yx_2, (24.24,0.42)))
clk_tampons.add(gdstk.Reference(sg13cmos5l_decap_8_2, (23.52,3.78)))
clk_tampons.add(gdstk.Reference(sg13cmos5l_decap_8_2, (30.24,3.78)))
clk_tampons.add(gdstk.Reference(sg13cmos5l_decap_8_2, (26.88,3.78)))
clk_tampons.add(gdstk.Reference(via_via3_4_800_440_1_2_4, (38.4,3.78)))
clk_tampons.add(gdstk.Reference(sg13cmos5l_decap_8_2, (33.6,3.78)))
clk_tampons.add(gdstk.Reference(sg13cmos5l_decap_8_2, (36.96,3.78)))
clk_tampons.add(gdstk.Reference(via_via3_4_800_440_1_2_4, (30,7.56)))
clk_tampons.add(gdstk.Reference(via_via2_yx_2, (33.36,0.42)))
clk_tampons.add(gdstk.Reference(via_via2_yx_2, (25.2,0.42)))
clk_tampons.add(gdstk.Reference(via_via1_2_800_440_1_2_4, (30,7.56)))
clk_tampons.add(gdstk.Reference(via_via2_3_800_440_1_2_4, (26.4,3.78)))
clk_tampons.add(gdstk.Reference(via_via2_3_800_440_1_2_4, (30,7.56)))
clk_tampons.add(gdstk.Reference(via_via2_3_800_440_1_2_4, (38.4,3.78)))
clk_tampons.add(gdstk.Label('VDD', (20.16,7.56), layer=8, texttype=25))
clk_tampons.add(gdstk.Label('VSS', (20.16,3.78), layer=8, texttype=25))
clk_tampons.add(gdstk.Label('VDD', (6,11.34), layer=50, texttype=25))
clk_tampons.add(gdstk.Label('VSS', (2.4,11.34), layer=50, texttype=25))
clk_tampons.add(gdstk.Label('i_a', (8.4,0.4), layer=30, texttype=25))
clk_tampons.add(gdstk.Label('i_b', (28.56,0.4), layer=30, texttype=25))
clk_tampons.add(gdstk.Label('o_a0', (3.36,0.4), layer=30, texttype=25))
clk_tampons.add(gdstk.Label('o_a1', (13.44,0.4), layer=30, texttype=25))
clk_tampons.add(gdstk.Label('o_b0', (23.52,0.4), layer=30, texttype=25))
clk_tampons.add(gdstk.Label('o_b1', (33.6,0.4), layer=30, texttype=25))

lib.write_gds('clk_tampons.gds')
